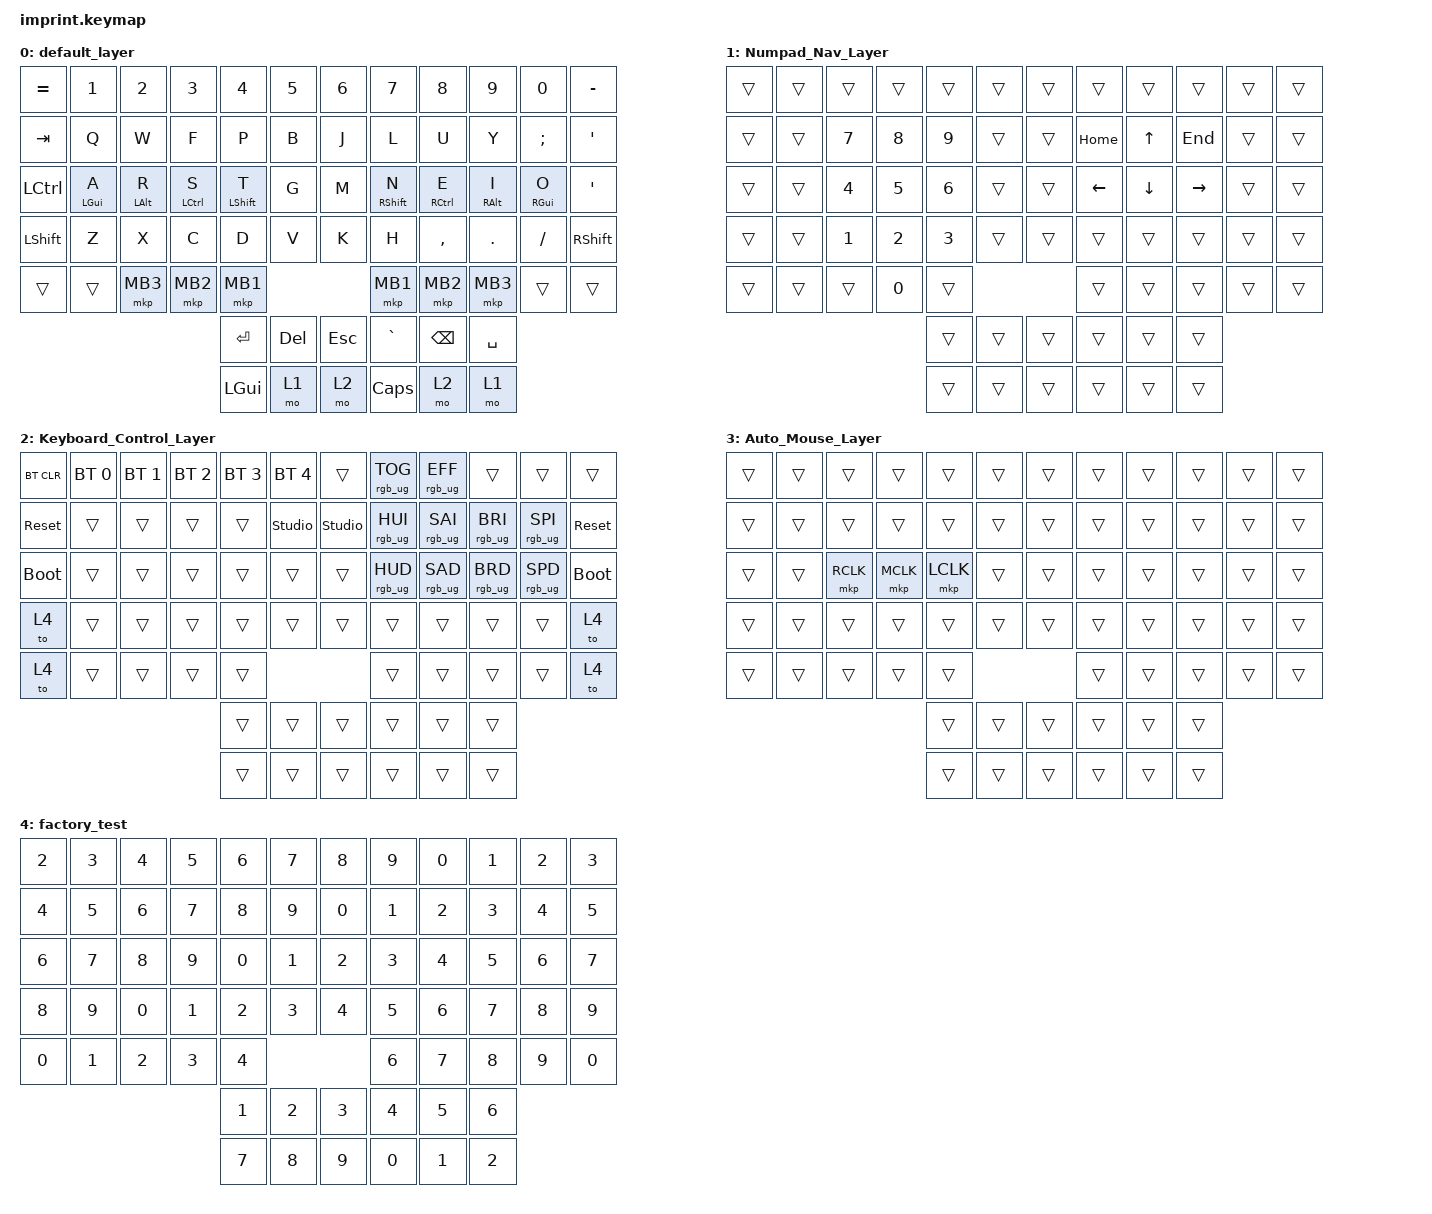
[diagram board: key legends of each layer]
#include <input/processors.dtsi>
#include <dt-bindings/zmk/input_transform.h>
#include <behaviors.dtsi>
#include <dt-bindings/zmk/bt.h>
#include <dt-bindings/zmk/keys.h>
#include <dt-bindings/zmk/pointing.h>
#include <dt-bindings/zmk/rgb.h>

/ {
    chosen { zmk,matrix-transform = &imprint_number_row_full_bottom_row; };

    behaviors {
        hmr: hmr {
            compatible = "zmk,behavior-hold-tap";
            label = "HOMEROW MOD RIGHT";
            bindings = <&kp>, <&kp>;

            #binding-cells = <2>;
            tapping-term-ms = <280>;
            quick-tap-ms = <175>;
            require-prior-idle-ms = <150>;
            flavor = "balanced";
            hold-trigger-on-release;
            hold-trigger-key-positions = <0 1 2 3 4 5 12 13 14 15 16 17 24 25 26 27 28 29 36 37 38 39 40 41 48 49 50 51 52 58 59 60 64 65 66 61 62 63 67 68 69>;
        };

        hml: hml {
            compatible = "zmk,behavior-hold-tap";
            label = "HOME ROW MOD LEFT";
            bindings = <&kp>, <&kp>;

            #binding-cells = <2>;
            tapping-term-ms = <280>;
            quick-tap-ms = <175>;
            require-prior-idle-ms = <150>;
            flavor = "balanced";
            hold-trigger-on-release;
            hold-trigger-key-positions = <6 7 8 9 10 11 18 19 20 21 22 23 30 31 32 33 34 35 42 43 44 45 46 47 53 54 55 56 57 62 63 68 69 58 59 60 61 64 65 66 67>;
        };
    };

    keymap {
        compatible = "zmk,keymap";

        default_layer {
            bindings = <
&kp EQUAL  &kp N1           &kp N2           &kp N3        &kp N4             &kp N5              &kp N6     &kp N7              &kp N8        &kp N9            &kp N0         &kp MINUS
&kp TAB    &kp Q            &kp W            &kp F         &kp P              &kp B               &kp J      &kp L               &kp U         &kp Y             &kp SEMICOLON  &kp SQT
&kp LCTRL  &hml LEFT_GUI A  &hml LEFT_ALT R  &hml LCTRL S  &hml LEFT_SHIFT T  &kp G               &kp M      &hmr RIGHT_SHIFT N  &hmr RCTRL E  &hmr RIGHT_ALT I  &hmr RGUI O    &kp SQT
&kp LSHFT  &kp Z            &kp X            &kp C         &kp D              &kp V               &kp K      &kp H               &kp COMMA     &kp DOT           &kp FSLH       &kp RSHFT
&trans     &trans           &mkp MB3         &mkp MB2      &mkp MB1                                          &mkp MB1            &mkp MB2      &mkp MB3          &trans         &trans
                                                           &kp RET            &kp DEL  &kp ESC    &kp GRAVE  &kp BSPC            &kp SPACE
                                                           &kp LGUI           &mo 1    &mo 2      &kp CAPS   &mo 2               &mo 1
            >;
        };

        Numpad_Nav_Layer {
            bindings = <
&trans  &trans  &trans  &trans  &trans  &trans            &trans  &trans    &trans    &trans     &trans  &trans
&trans  &trans  &kp N7  &kp N8  &kp N9  &trans            &trans  &kp HOME  &kp UP    &kp END    &trans  &trans
&trans  &trans  &kp N4  &kp N5  &kp N6  &trans            &trans  &kp LEFT  &kp DOWN  &kp RIGHT  &trans  &trans
&trans  &trans  &kp N1  &kp N2  &kp N3  &trans            &trans  &trans    &trans    &trans     &trans  &trans
&trans  &trans  &trans  &kp N0  &trans                            &trans    &trans    &trans     &trans  &trans
                                &trans  &trans  &trans    &trans  &trans    &trans
                                &trans  &trans  &trans    &trans  &trans    &trans
            >;
        };

        Keyboard_Control_Layer {
            bindings = <
&bt BT_CLR   &bt BT_SEL 0  &bt BT_SEL 1  &bt BT_SEL 2  &bt BT_SEL 3  &bt BT_SEL 4              &trans          &rgb_ug RGB_TOG  &rgb_ug RGB_EFF  &trans           &trans           &trans
&sys_reset   &trans        &trans        &trans        &trans        &studio_unlock            &studio_unlock  &rgb_ug RGB_HUI  &rgb_ug RGB_SAI  &rgb_ug RGB_BRI  &rgb_ug RGB_SPI  &sys_reset
&bootloader  &trans        &trans        &trans        &trans        &trans                    &trans          &rgb_ug RGB_HUD  &rgb_ug RGB_SAD  &rgb_ug RGB_BRD  &rgb_ug RGB_SPD  &bootloader
&to 4        &trans        &trans        &trans        &trans        &trans                    &trans          &trans           &trans           &trans           &trans           &to 4
&to 4        &trans        &trans        &trans        &trans                                                  &trans           &trans           &trans           &trans           &to 4
                                                       &trans        &trans          &trans    &trans          &trans           &trans
                                                       &trans        &trans          &trans    &trans          &trans           &trans
            >;
        };

        Auto_Mouse_Layer {
            bindings = <
&trans  &trans  &trans     &trans     &trans     &trans            &trans  &trans  &trans  &trans  &trans  &trans
&trans  &trans  &trans     &trans     &trans     &trans            &trans  &trans  &trans  &trans  &trans  &trans
&trans  &trans  &mkp RCLK  &mkp MCLK  &mkp LCLK  &trans            &trans  &trans  &trans  &trans  &trans  &trans
&trans  &trans  &trans     &trans     &trans     &trans            &trans  &trans  &trans  &trans  &trans  &trans
&trans  &trans  &trans     &trans     &trans                               &trans  &trans  &trans  &trans  &trans
                                      &trans     &trans  &trans    &trans  &trans  &trans
                                      &trans     &trans  &trans    &trans  &trans  &trans
            >;
        };

        factory_test {
            bindings = <
&kp N2  &kp N3  &kp N4  &kp N5  &kp N6  &kp N7            &kp N8  &kp N9  &kp N0  &kp N1  &kp N2  &kp N3
&kp N4  &kp N5  &kp N6  &kp N7  &kp N8  &kp N9            &kp N0  &kp N1  &kp N2  &kp N3  &kp N4  &kp N5
&kp N6  &kp N7  &kp N8  &kp N9  &kp N0  &kp N1            &kp N2  &kp N3  &kp N4  &kp N5  &kp N6  &kp N7
&kp N8  &kp N9  &kp N0  &kp N1  &kp N2  &kp N3            &kp N4  &kp N5  &kp N6  &kp N7  &kp N8  &kp N9
&kp N0  &kp N1  &kp N2  &kp N3  &kp N4                            &kp N6  &kp N7  &kp N8  &kp N9  &kp N0
                                &kp N1  &kp N2  &kp N3    &kp N4  &kp N5  &kp N6
                                &kp N7  &kp N8  &kp N9    &kp N0  &kp N1  &kp N2
            >;
        };
    };
};

// right hand trackball configuration
// &trackball_peripheral_listener {
//    input-processors =
//     activate layer 3 within 500ms of the trackball moving
//     <&zip_temp_layer 3 500>;
// };
//left hand trackball configuration

&trackball_central_listener {
    input-processors =
        // multiply sensitivity by 1, divide by 3 (make it slower for scrolling),,,,,
        <&zip_xy_scaler 1 3>,
        // make this trackball output scrolling events by default instead of cursor movement,,,,,
        <&zip_xy_to_scroll_mapper>,
        // invert vertical scrolling so that the view moves in the same direction as the top of the trackball.,,,,,
        <&zip_scroll_transform INPUT_TRANSFORM_Y_INVERT>;
};
